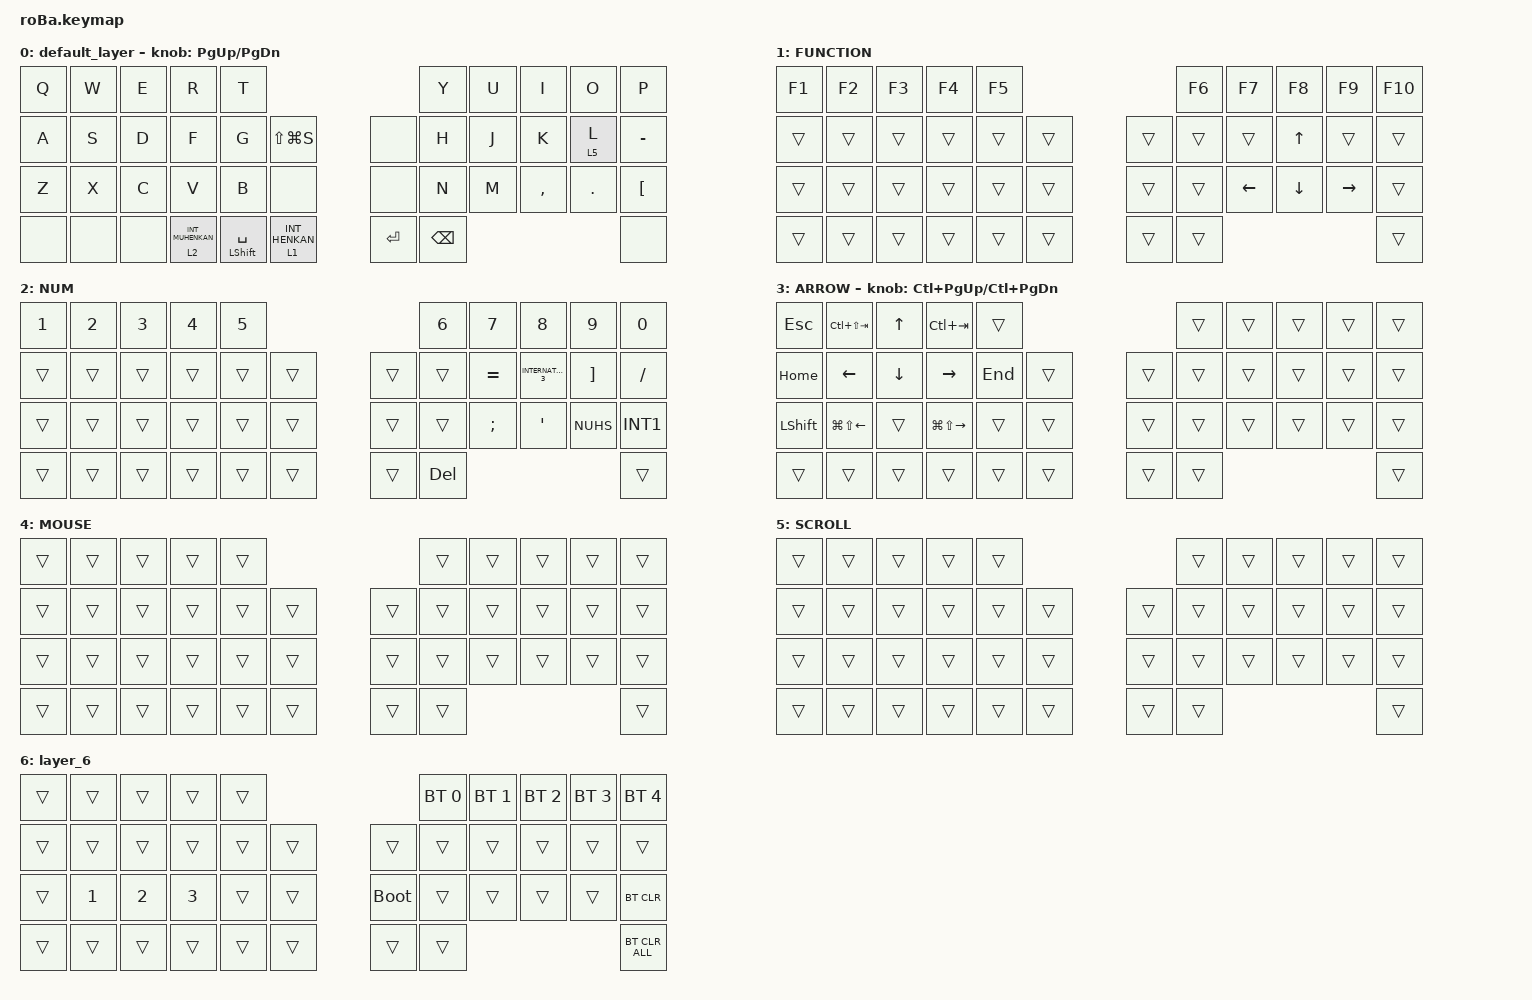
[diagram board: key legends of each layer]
#include <behaviors.dtsi>
#include <dt-bindings/zmk/bt.h>
#include <dt-bindings/zmk/keys.h>
#include <dt-bindings/zmk/pointing.h>

#define MOUSE 4
#define SCROLL 5
#define NUM 6

/ {
    combos {
        compatible = "zmk,combos";

        LClk {
            bindings = <&mkp LCLK>;
            key-positions = <18 19>;
        };

        RClk {
            bindings = <&mkp RCLK>;
            key-positions = <19 20>;
        };

        Tab {
            bindings = <&kp TAB>;
            key-positions = <13 14>;
        };

        Escape {
            bindings = <&kp ESCAPE>;
            key-positions = <12 13>;
        };

        Ctrl {
            bindings = <&kp LCTRL>;
            key-positions = <38 39>;
        };

        Win {
            bindings = <&kp LEFT_WIN>;
            key-positions = <25 24>;
        };
    };

    keymap {
        compatible = "zmk,keymap";

        default_layer {
            bindings = <
&kp Q  &kp W  &kp E  &kp R               &kp T                                                  &kp Y     &kp U  &kp I      &kp O    &kp P
&kp A  &kp S  &kp D  &kp F               &kp G                 &kp LS(LG(S))         &none      &kp H     &kp J  &kp K      &lt 5 L  &kp MINUS
&kp Z  &kp X  &kp C  &kp V               &kp B                 &none                 &none      &kp N     &kp M  &kp COMMA  &kp DOT  &kp LBKT
&none  &none  &none  &lt 2 INT_MUHENKAN  &mt LEFT_SHIFT SPACE  &lt 1 INT_HENKAN      &kp ENTER  &kp BSPC                             &none
            >;

            sensor-bindings = <&inc_dec_kp PG_UP PAGE_DOWN>;
        };

        FUNCTION {
            bindings = <
&kp F1  &kp F2  &kp F3  &kp F4  &kp F5                      &kp F6  &kp F7    &kp F8    &kp F9     &kp F10
&trans  &trans  &trans  &trans  &trans  &trans      &trans  &trans  &trans    &kp UP    &trans     &trans
&trans  &trans  &trans  &trans  &trans  &trans      &trans  &trans  &kp LEFT  &kp DOWN  &kp RIGHT  &trans
&trans  &trans  &trans  &trans  &trans  &trans      &trans  &trans                                 &trans
            >;
        };

        NUM {
            bindings = <
&kp N1  &kp N2  &kp N3  &kp N4  &kp N5                      &kp N6      &kp N7     &kp N8               &kp N9    &kp N0
&trans  &trans  &trans  &trans  &trans  &trans      &trans  &trans      &kp EQUAL  &kp INTERNATIONAL_3  &kp RBKT  &kp SLASH
&trans  &trans  &trans  &trans  &trans  &trans      &trans  &trans      &kp SEMI   &kp SQT              &kp NUHS  &kp INT1
&trans  &trans  &trans  &trans  &trans  &trans      &trans  &kp DELETE                                            &trans
            >;
        };

        ARROW {
            bindings = <
&kp ESCAPE      &kp LC(LS(TAB))         &kp UP_ARROW    &kp LC(TAB)              &trans                       &trans  &trans  &trans  &trans  &trans
&kp HOME        &kp LEFT_ARROW          &kp DOWN_ARROW  &kp RIGHT_ARROW          &kp END  &trans      &trans  &trans  &trans  &trans  &trans  &trans
&kp LEFT_SHIFT  &kp LG(LS(LEFT_ARROW))  &trans          &kp LG(LS(RIGHT_ARROW))  &trans   &trans      &trans  &trans  &trans  &trans  &trans  &trans
&trans          &trans                  &trans          &trans                   &trans   &trans      &trans  &trans                          &trans
            >;

            sensor-bindings = <&inc_dec_kp LC(PAGE_UP) LC(PAGE_DOWN)>;
        };

        MOUSE {
            bindings = <
&trans  &trans  &trans  &trans  &trans                      &trans  &trans  &trans  &trans  &trans
&trans  &trans  &trans  &trans  &trans  &trans      &trans  &trans  &trans  &trans  &trans  &trans
&trans  &trans  &trans  &trans  &trans  &trans      &trans  &trans  &trans  &trans  &trans  &trans
&trans  &trans  &trans  &trans  &trans  &trans      &trans  &trans                          &trans
            >;
        };

        SCROLL {
            bindings = <
&trans  &trans  &trans  &trans  &trans                      &trans  &trans  &trans  &trans  &trans
&trans  &trans  &trans  &trans  &trans  &trans      &trans  &trans  &trans  &trans  &trans  &trans
&trans  &trans  &trans  &trans  &trans  &trans      &trans  &trans  &trans  &trans  &trans  &trans
&trans  &trans  &trans  &trans  &trans  &trans      &trans  &trans                          &trans
            >;
        };

        layer_6 {
            bindings = <
&trans  &trans        &trans        &trans        &trans                           &bt BT_SEL 0  &bt BT_SEL 1  &bt BT_SEL 2  &bt BT_SEL 3  &bt BT_SEL 4
&trans  &trans        &trans        &trans        &trans  &trans      &trans       &trans        &trans        &trans        &trans        &trans
&trans  &kp NUMBER_1  &kp NUMBER_2  &kp NUMBER_3  &trans  &trans      &bootloader  &trans        &trans        &trans        &trans        &bt BT_CLR
&trans  &trans        &trans        &trans        &trans  &trans      &trans       &trans                                                  &bt BT_CLR_ALL
            >;
        };
    };
};
